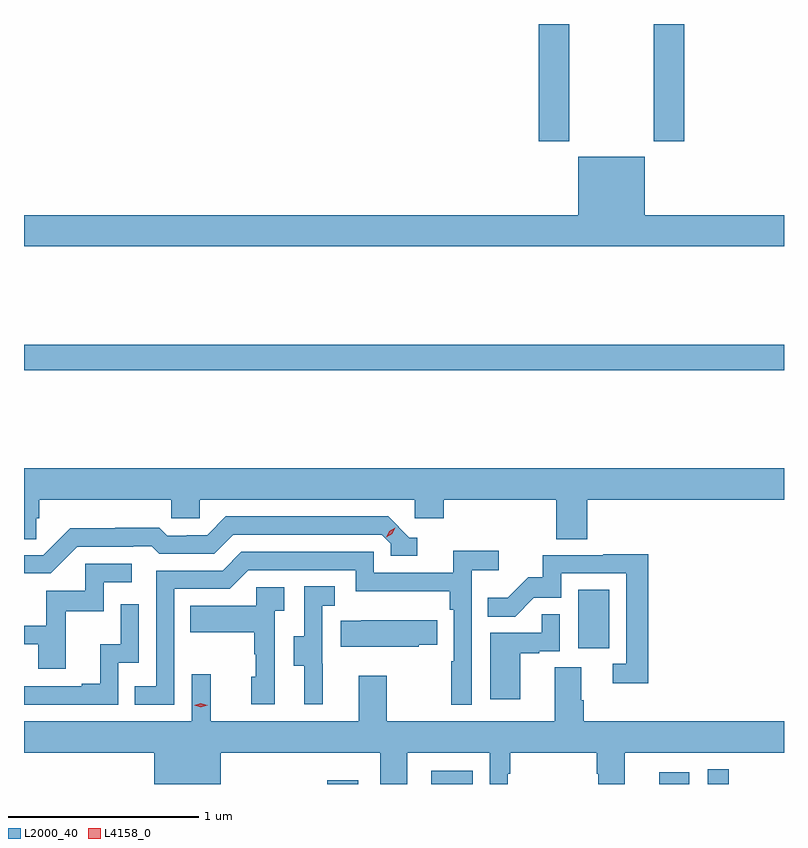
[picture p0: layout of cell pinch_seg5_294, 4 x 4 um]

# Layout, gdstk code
import gdstk
lib = gdstk.Library(unit=1e-6, precision=1e-09)
def R(c, l, rs):  # rectangles x0, y0, x1, y1
    for r in rs: c.add(gdstk.rectangle(r[:2], r[2:], *l))
def P(c, l, *ps):  # polygons
    for p in ps: c.add(gdstk.Polygon(p, *l))
L2000_40 = (2000, 40)
L4158_0 = (4158, 0)

pinch_seg5_294 = lib.new_cell('pinch_seg5_294')
R(pinch_seg5_294, L2000_40, [(892.868,891.227,893.029,891.247), (893.415,891.227,893.632,891.298), (894.614,891.227,894.772,891.289), (894.87,891.227,894.979,891.304), (894.188,891.942,894.352,892.249), (891.271,893.404,895.271,893.54), (893.981,894.609,894.141,895.227), (894.586,894.609,894.746,895.227)])
P(pinch_seg5_294, L2000_40, [(895.271,894.22),(894.538,894.22),(894.538,894.529),(894.188,894.529),(894.188,894.22),(891.271,894.22),(891.271,894.056),(895.271,894.056)],
  [(891.335,892.626),(891.35,892.626),(891.35,892.724),(892.047,892.724),(892.047,892.626),(892.197,892.626),(892.197,892.724),(893.328,892.724),(893.328,892.626),(893.48,892.626),(893.48,892.724),(894.071,892.724),(894.071,892.516),(894.236,892.516),(894.236,892.724),(895.271,892.724),(895.271,892.888),(891.271,892.888),(891.271,892.516),(891.335,892.516)],
  [(891.552,892.476),(891.845,892.476),(891.845,892.479),(891.944,892.479),(891.983,892.44),(892.272,892.44),(892.371,892.539),(893.154,892.539),(893.202,892.491),(893.202,892.428),(893.341,892.428),(893.341,892.524),(893.298,892.524),(893.187,892.635),(892.334,892.635),(892.235,892.536),(892.128,892.536),(892.128,892.533),(892.025,892.533),(891.983,892.576),(891.75,892.576),(891.75,892.573),(891.514,892.573),(891.372,892.431),(891.271,892.431),(891.271,892.335),(891.411,892.335)],
  [(892.062,892.254),(892.353,892.254),(892.452,892.353),(893.016,892.353),(893.016,892.241),(893.512,892.241),(893.512,892.145),(893.532,892.145),(893.532,891.872),(893.52,891.872),(893.52,891.645),(893.628,891.645),(893.628,892.352),(893.77,892.352),(893.77,892.454),(893.531,892.454),(893.531,892.338),(893.112,892.338),(893.112,892.449),(892.415,892.449),(892.316,892.35),(891.966,892.35),(891.966,891.741),(891.853,891.741),(891.853,891.645),(892.062,891.645)],
  [(894.557,892.436),(894.319,892.436),(894.319,892.431),(894.001,892.431),(894.001,892.314),(893.924,892.314),(893.817,892.207),(893.713,892.207),(893.713,892.108),(893.857,892.108),(893.955,892.206),(894.099,892.206),(894.099,892.335),(894.441,892.335),(894.441,891.861),(894.369,891.861),(894.369,891.756),(894.557,891.756)],
  [(891.491,892.137),(891.69,892.137),(891.69,892.29),(891.838,892.29),(891.838,892.386),(891.594,892.386),(891.594,892.245),(891.389,892.245),(891.389,892.059),(891.271,892.059),(891.271,891.963),(891.347,891.963),(891.347,891.834),(891.491,891.834)],
  [(892.844,891.861),(892.842,891.861),(892.842,892.165),(892.906,892.165),(892.906,892.268),(892.746,892.268),(892.746,892.005),(892.691,892.005),(892.691,891.85),(892.745,891.85),(892.745,891.648),(892.844,891.648)],
  [(892.59,892.139),(892.642,892.139),(892.642,892.263),(892.494,892.263),(892.494,892.165),(892.147,892.165),(892.147,892.025),(892.482,892.025),(892.482,891.911),(892.492,891.911),(892.492,891.792),(892.466,891.792),(892.466,891.648),(892.59,891.648)],
  [(891.768,891.864),(891.876,891.864),(891.876,892.174),(891.78,892.174),(891.78,891.962),(891.671,891.962),(891.671,891.754),(891.575,891.754),(891.575,891.741),(891.271,891.741),(891.271,891.645),(891.768,891.645)],
  [(893.884,891.915),(893.984,891.915),(893.984,891.927),(894.09,891.927),(894.09,892.121),(893.995,892.121),(893.995,892.023),(893.726,892.023),(893.726,891.672),(893.884,891.672)],
  [(893.349,891.961),(893.447,891.961),(893.447,892.09),(893.047,892.09),(893.047,892.087),(892.939,892.087),(892.939,891.95),(893.349,891.95)],
  [(892.306,891.392),(893.147,891.392),(893.147,891.227),(893.287,891.227),(893.287,891.392),(893.721,891.392),(893.721,891.227),(893.818,891.227),(893.818,891.28),(893.83,891.28),(893.83,891.392),(894.286,891.392),(894.286,891.28),(894.293,891.28),(894.293,891.227),(894.433,891.227),(894.433,891.392),(895.271,891.392),(895.271,891.556),(894.218,891.556),(894.218,891.668),(894.205,891.668),(894.205,891.842),(894.065,891.842),(894.065,891.556),(893.181,891.556),(893.181,891.796),(893.033,891.796),(893.033,891.556),(892.253,891.556),(892.253,891.805),(892.155,891.805),(892.155,891.556),(891.271,891.556),(891.271,891.392),(891.956,891.392),(891.956,891.227),(892.306,891.227)])
P(pinch_seg5_294, L4158_0, [(893.177,892.525),(893.177,892.526),(893.194,892.558),(893.225,892.577),(893.226,892.577),(893.226,892.576),(893.209,892.544),(893.178,892.525)],
  [(892.202,891.632),(892.166,891.642),(892.166,891.642),(892.166,891.642),(892.202,891.652),(892.237,891.642),(892.237,891.642),(892.237,891.642)])

lib.write_gds('pinch_seg5_294.gds')
